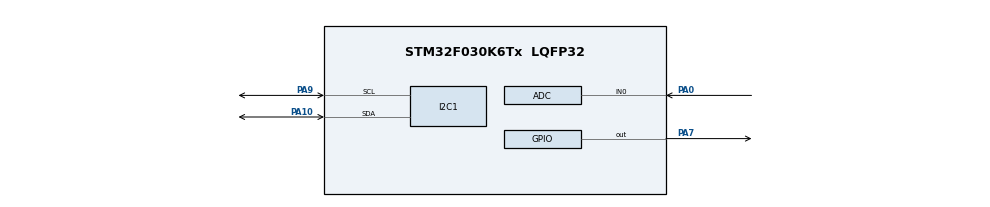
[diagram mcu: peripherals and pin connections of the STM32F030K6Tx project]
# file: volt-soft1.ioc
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Mcu.Family=STM32F0
Mcu.Name=STM32F030K6Tx
Mcu.Package=LQFP32
PA0.Mode=IN0
PA0.Signal=ADC_IN0
PA10.Mode=I2C
PA10.Signal=I2C1_SDA
PA7.Signal=GPIO_Output
PA9.Mode=I2C
PA9.Signal=I2C1_SCL
PF0-OSC_IN.Mode=HSE-External-Oscillator
PF0-OSC_IN.Signal=RCC_OSC_IN
PF1-OSC_OUT.Mode=HSE-External-Oscillator
PF1-OSC_OUT.Signal=RCC_OSC_OUT
ProjectManager.HeapSize=0x200
ProjectManager.StackSize=0x400
ProjectManager.TargetToolchain=STM32CubeIDE
board=custom

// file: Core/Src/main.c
/* USER CODE BEGIN Header */
/**
  ******************************************************************************
  * @file           : main.c
  * @brief          : Main program body
  ******************************************************************************
  * @attention
  *
  * Copyright (c) 2024 STMicroelectronics.
  * All rights reserved.
  *
  * This software is licensed under terms that can be found in the LICENSE file
  * in the root directory of this software component.
  * If no LICENSE file comes with this software, it is provided AS-IS.
  *
  ******************************************************************************
  */
/* USER CODE END Header */
#include "main.h"

/* USER CODE BEGIN Includes */
#include<stdbool.h>
#include<stdio.h>
#include "i2c-lcd.h"
/* USER CODE END Includes */

ADC_HandleTypeDef hadc;

I2C_HandleTypeDef hi2c1;

void SystemClock_Config(void);
static void MX_GPIO_Init(void);
static void MX_ADC_Init(void);
static void MX_I2C1_Init(void);

/* USER CODE BEGIN 0 */

uint16_t raw;
char msg[8]={0};

/* USER CODE END 0 */

int main(void)
{

  /* MCU Configuration--------------------------------------------------------*/

  /* Reset of all peripherals, Initializes the Flash interface and the Systick. */
  HAL_Init();

  /* Configure the system clock */
  SystemClock_Config();

  /* Initialize all configured peripherals */
  MX_GPIO_Init();
  MX_ADC_Init();
  MX_I2C1_Init();

  //RCC->AHBENR |= RCC_AHBENR_GPIOAEN; // Enable GPIOA clock
  //GPIOA->MODER |= GPIO_MODER_MODER7_0; // Set PA7 as output
  /* USER CODE BEGIN 2 */
    lcd_init();
  /* USER CODE END 2 */

  /* Infinite loop */
  /* USER CODE BEGIN WHILE */
  while (1)
  {
	 HAL_ADC_Start(&hadc);
	 HAL_ADC_PollForConversion(&hadc,10);

	 raw = HAL_ADC_GetValue(&hadc);
     float vin = raw*(3.3/4096);
     float volt = (vin)/0.13;

     sprintf(msg, "%.2f V", volt);
     lcd_send_string(msg);
     HAL_Delay(500);
     lcd_send_cmd (0x80);

      /* USER CODE END WHILE */
    /* USER CODE END WHILE */

  }
}

void SystemClock_Config(void)
{
  RCC_OscInitTypeDef RCC_OscInitStruct = {0};
  RCC_ClkInitTypeDef RCC_ClkInitStruct = {0};
  RCC_PeriphCLKInitTypeDef PeriphClkInit = {0};

  /** Initializes the RCC Oscillators according to the specified parameters
  * in the RCC_OscInitTypeDef structure.
  */
  RCC_OscInitStruct.OscillatorType = RCC_OSCILLATORTYPE_HSI|RCC_OSCILLATORTYPE_HSI14;
  RCC_OscInitStruct.HSIState = RCC_HSI_ON;
  RCC_OscInitStruct.HSI14State = RCC_HSI14_ON;
  RCC_OscInitStruct.HSICalibrationValue = RCC_HSICALIBRATION_DEFAULT;
  RCC_OscInitStruct.HSI14CalibrationValue = 16;
  RCC_OscInitStruct.PLL.PLLState = RCC_PLL_NONE;
  if (HAL_RCC_OscConfig(&RCC_OscInitStruct) != HAL_OK)
  {
    Error_Handler();
  }

  /** Initializes the CPU, AHB and APB buses clocks
  */
  RCC_ClkInitStruct.ClockType = RCC_CLOCKTYPE_HCLK|RCC_CLOCKTYPE_SYSCLK
                              |RCC_CLOCKTYPE_PCLK1;
  RCC_ClkInitStruct.SYSCLKSource = RCC_SYSCLKSOURCE_HSI;
  RCC_ClkInitStruct.AHBCLKDivider = RCC_SYSCLK_DIV1;
  RCC_ClkInitStruct.APB1CLKDivider = RCC_HCLK_DIV1;

  if (HAL_RCC_ClockConfig(&RCC_ClkInitStruct, FLASH_LATENCY_0) != HAL_OK)
  {
    Error_Handler();
  }
  PeriphClkInit.PeriphClockSelection = RCC_PERIPHCLK_I2C1;
  PeriphClkInit.I2c1ClockSelection = RCC_I2C1CLKSOURCE_HSI;
  if (HAL_RCCEx_PeriphCLKConfig(&PeriphClkInit) != HAL_OK)
  {
    Error_Handler();
  }
}

static void MX_ADC_Init(void)
{

  ADC_ChannelConfTypeDef sConfig = {0};

  /** Configure the global features of the ADC (Clock, Resolution, Data Alignment and number of conversion)
  */
  hadc.Instance = ADC1;
  hadc.Init.ClockPrescaler = ADC_CLOCK_ASYNC_DIV1;
  hadc.Init.Resolution = ADC_RESOLUTION_12B;
  hadc.Init.DataAlign = ADC_DATAALIGN_RIGHT;
  hadc.Init.ScanConvMode = ADC_SCAN_DIRECTION_FORWARD;
  hadc.Init.EOCSelection = ADC_EOC_SINGLE_CONV;
  hadc.Init.LowPowerAutoWait = DISABLE;
  hadc.Init.LowPowerAutoPowerOff = DISABLE;
  hadc.Init.ContinuousConvMode = DISABLE;
  hadc.Init.DiscontinuousConvMode = DISABLE;
  hadc.Init.ExternalTrigConv = ADC_SOFTWARE_START;
  hadc.Init.ExternalTrigConvEdge = ADC_EXTERNALTRIGCONVEDGE_NONE;
  hadc.Init.DMAContinuousRequests = DISABLE;
  hadc.Init.Overrun = ADC_OVR_DATA_PRESERVED;
  if (HAL_ADC_Init(&hadc) != HAL_OK)
  {
    Error_Handler();
  }

  /** Configure for the selected ADC regular channel to be converted.
  */
  sConfig.Channel = ADC_CHANNEL_0;
  sConfig.Rank = ADC_RANK_CHANNEL_NUMBER;
  sConfig.SamplingTime = ADC_SAMPLETIME_1CYCLE_5;
  if (HAL_ADC_ConfigChannel(&hadc, &sConfig) != HAL_OK)
  {
    Error_Handler();
  }

}

static void MX_I2C1_Init(void)
{

  hi2c1.Instance = I2C1;
  hi2c1.Init.Timing = 0x2000090E;
  hi2c1.Init.OwnAddress1 = 0;
  hi2c1.Init.AddressingMode = I2C_ADDRESSINGMODE_7BIT;
  hi2c1.Init.DualAddressMode = I2C_DUALADDRESS_DISABLE;
  hi2c1.Init.OwnAddress2 = 0;
  hi2c1.Init.OwnAddress2Masks = I2C_OA2_NOMASK;
  hi2c1.Init.GeneralCallMode = I2C_GENERALCALL_DISABLE;
  hi2c1.Init.NoStretchMode = I2C_NOSTRETCH_DISABLE;
  if (HAL_I2C_Init(&hi2c1) != HAL_OK)
  {
    Error_Handler();
  }

  /** Configure Analogue filter
  */
  if (HAL_I2CEx_ConfigAnalogFilter(&hi2c1, I2C_ANALOGFILTER_ENABLE) != HAL_OK)
  {
    Error_Handler();
  }

  /** Configure Digital filter
  */
  if (HAL_I2CEx_ConfigDigitalFilter(&hi2c1, 0) != HAL_OK)
  {
    Error_Handler();
  }

}

static void MX_GPIO_Init(void)
{
  GPIO_InitTypeDef GPIO_InitStruct = {0};

  /* GPIO Ports Clock Enable */
  __HAL_RCC_GPIOF_CLK_ENABLE();
  __HAL_RCC_GPIOA_CLK_ENABLE();

  /*Configure GPIO pin Output Level */
  HAL_GPIO_WritePin(GPIOA, GPIO_PIN_7, GPIO_PIN_RESET);

  /*Configure GPIO pin : PA7 */
  GPIO_InitStruct.Pin = GPIO_PIN_7;
  GPIO_InitStruct.Mode = GPIO_MODE_OUTPUT_PP;
  GPIO_InitStruct.Pull = GPIO_NOPULL;
  GPIO_InitStruct.Speed = GPIO_SPEED_FREQ_LOW;
  HAL_GPIO_Init(GPIOA, &GPIO_InitStruct);

}

void Error_Handler(void)
{
  __disable_irq();
  while (1)
  {
  }
}
